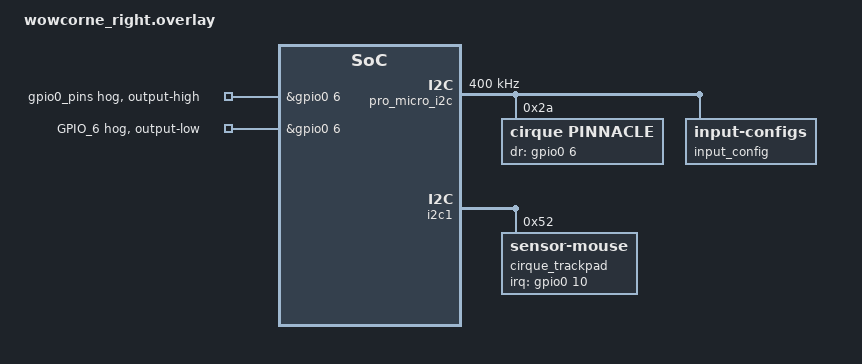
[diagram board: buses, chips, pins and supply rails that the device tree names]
/*
 * Copyright (c) 2020 Pete Johanson
 *
 * SPDX-License-Identifier: MIT
 */

#include "wowcorne.dtsi"

&default_transform {
    col-offset = <6>;
};

&five_column_transform {
    col-offset = <6>;
};

&kscan0 {
    col-gpios
        = <&pro_micro 14 GPIO_ACTIVE_HIGH>
        , <&pro_micro 15 GPIO_ACTIVE_HIGH>
        , <&pro_micro 18 GPIO_ACTIVE_HIGH>
        , <&pro_micro 19 GPIO_ACTIVE_HIGH>
        , <&pro_micro 20 GPIO_ACTIVE_HIGH>
        , <&pro_micro 21 GPIO_ACTIVE_HIGH>
        ;
};

&pro_micro_i2c {
    status = "okay";
    clock-frequency = < 400000 >;
    cirque: cirque@2a {
        compatible = "cirque,pinnacle";
        reg = <0x2a>;
        status = "okay";
        dr-gpios = <&gpio0 6 (GPIO_ACTIVE_HIGH)>;
        sensitivity = "2x";
    };
    input_config {
        compatible = "zmk,input-configs";

        cirque_config {
            device = <&cirque>;
            scale-multiplier = <2>;
        };
    };
};

// Define GPIO pins for the device tree overlay
&gpio0 {
    status = "okay";
    pinctrl-0 = <&gpio0_pins>;
    pinctrl-names = "default";
};

// Define the pin configuration for gpio0 pin 6
&gpio0_pins {
    pinctrl-0 = <&gpio0_6>;
    gpio-hog;
    gpios = <&gpio0 6 GPIO_ACTIVE_HIGH>;
    output-high;
};

// Create the gpio0_6 configuration
&gpio0_6 {
    label = "GPIO_6";
    gpio-hog;
    gpios = <&gpio0 6 GPIO_ACTIVE_HIGH>;
    output-low;
};

// Trackpad configuration
&cirque_trackpad {
    compatible = "zmk,sensor-mouse";
    status = "okay";
    mode = "relative";
    edge_scroll = <1>;
};

// Set up the I2C for the trackpad
&i2c1 {
    status = "okay";
    cirque_trackpad: cirque@52 {
        compatible = "cirque,trackpad";
        reg = <0x52>;
        interrupt-parent = <&gpio0>;
        interrupts = <10 0>;
    };
};

// Listener for the trackpad input
&cirque_listener {
    compatible = "zmk,input-listener";
    device = <&cirque>;
    y-invert;
    scale-multiplier = <2>;
};
